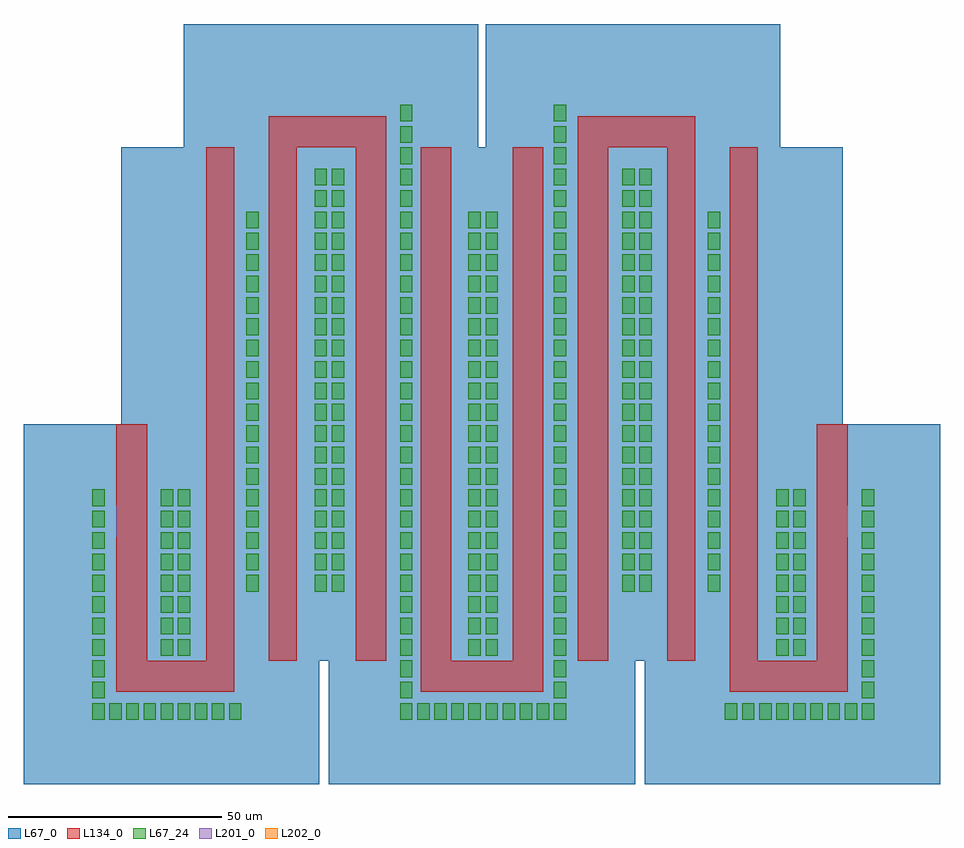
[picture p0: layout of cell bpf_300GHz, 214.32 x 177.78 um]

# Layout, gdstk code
from math import pi, radians
import gdstk
lib = gdstk.Library(unit=1e-6, precision=1e-09)
def R(c, l, rs):  # rectangles x0, y0, x1, y1
    for r in rs: c.add(gdstk.rectangle(r[:2], r[2:], *l))
L67_0 = (67, 0)
L67_24 = (67, 24)
L134_0 = (134, 0)
L201_0 = (201, 0)
L202_0 = (202, 0)

straight_gdsfactorypcomp = lib.new_cell('straight_gdsfactorypcomponentspwaveguidespstraight_L0_N_314f84cf')

c_straight_gdsfactorypcomp = lib.new_cell('straight_gdsfactorypcomponentspwaveguidespstraight_L0_N_18075a77')

tline_l0_scstopmetal2_ro = lib.new_cell('tline_L0_SCStopmetal2_routing_GCSmetal5_routing_WNone_Z50_N2')
tline_l0_scstopmetal2_ro.add(gdstk.Reference(straight_gdsfactorypcomp, (0,0)))
tline_l0_scstopmetal2_ro.add(gdstk.Reference(c_straight_gdsfactorypcomp, (0,0)))

c_straight_gdsfactorypcomp_ = lib.new_cell('straight_gdsfactorypcomponentspwaveguidespstraight_L55p_e40321a2')
R(c_straight_gdsfactorypcomp_, L134_0, [(0,-3.6,55.375,3.6)])

c_straight_gdsfactorypcomp__ = lib.new_cell('straight_gdsfactorypcomponentspwaveguidespstraight_L55p_79a64805')
R(c_straight_gdsfactorypcomp__, L67_0, [(0,-25.2,55.375,25.2)])

tline_l55p375_scstopmeta = lib.new_cell('tline_L55p375_SCStopmetal2_routing_GCSmetal5_routing_WN_9375a09f')
tline_l55p375_scstopmeta.add(gdstk.Reference(c_straight_gdsfactorypcomp_, (0,0)))
tline_l55p375_scstopmeta.add(gdstk.Reference(c_straight_gdsfactorypcomp__, (0,0)))

coupler_tline_z67p939468 = lib.new_cell('coupler_tline_Z67p93946885798206_Z39p914512775992414_L1_c1b7c22b')
R(coupler_tline_z67p939468, L67_0, [(0,-30.44,120.175,30.44)])
R(coupler_tline_z67p939468, L134_0, [(0,-10.61,120.175,-4), (0,4,120.175,10.61)])

rectangle_gdsfactorypcom = lib.new_cell('rectangle_gdsfactorypcomponentspshapesprectangle_S7p2_7_2a688ad3')
R(rectangle_gdsfactorypcom, L134_0, [(0,0,7.2,7.2)])

unnamed_16 = lib.new_cell('Unnamed_16')
R(unnamed_16, L67_0, [(0,0,50.4,50.4)])

c__corner_rectangle_w7p2_l = lib.new_cell('_corner_rectangle_W7p2_L7p2_SCStopmetal2_routing_GCSmet_6323a6bc')
c__corner_rectangle_w7p2_l.add(gdstk.Reference(rectangle_gdsfactorypcom, (0,0)))
c__corner_rectangle_w7p2_l.add(gdstk.Reference(unnamed_16, (-21.6,-21.6)))

c_straight_gdsfactorypcomp___ = lib.new_cell('straight_gdsfactorypcomponentspwaveguidespstraight_L13p_8a9a55cb')
R(c_straight_gdsfactorypcomp___, L134_0, [(0,-3.6,13.81,3.6)])

c_straight_gdsfactorypcomp____ = lib.new_cell('straight_gdsfactorypcomponentspwaveguidespstraight_L13p_9e3817ef')
R(c_straight_gdsfactorypcomp____, L67_0, [(0,-25.2,13.81,25.2)])

tline_l13p81_scstopmetal = lib.new_cell('tline_L13p81_SCStopmetal2_routing_GCSmetal5_routing_WNone_Z50_N2')
tline_l13p81_scstopmetal.add(gdstk.Reference(c_straight_gdsfactorypcomp___, (0,0)))
tline_l13p81_scstopmetal.add(gdstk.Reference(c_straight_gdsfactorypcomp____, (0,0)))

c_rectangle_gdsfactorypcom = lib.new_cell('rectangle_gdsfactorypcomponentspshapesprectangle_S6p61__e03c47ae')
R(c_rectangle_gdsfactorypcom, L134_0, [(0,0,6.61,7.2)])

unnamed_23 = lib.new_cell('Unnamed_23')
R(unnamed_23, L67_0, [(0,0,46.27,50.4)])

c__corner_rectangle_w7p2_l_ = lib.new_cell('_corner_rectangle_W7p2_L6p61_SCStopmetal2_routing_GCSme_4e32c115')
c__corner_rectangle_w7p2_l_.add(gdstk.Reference(c_rectangle_gdsfactorypcom, (0,0)))
c__corner_rectangle_w7p2_l_.add(gdstk.Reference(unnamed_23, (-19.83,-21.6)))

coupler_tline_z52p931014 = lib.new_cell('coupler_tline_Z52p931014405115995_Z47p37741073241804_L1_56e81adf')
R(coupler_tline_z52p931014, L67_0, [(0,-32.72,120.175,32.72)])
R(coupler_tline_z52p931014, L134_0, [(0,-11.18,120.175,-4), (0,4,120.175,11.18)])

c_straight_gdsfactorypcomp_____ = lib.new_cell('straight_gdsfactorypcomponentspwaveguidespstraight_L13p_e9e2e518')
R(c_straight_gdsfactorypcomp_____, L134_0, [(0,-3.6,13.79,3.6)])

c_straight_gdsfactorypcomp______ = lib.new_cell('straight_gdsfactorypcomponentspwaveguidespstraight_L13p_17c76902')
R(c_straight_gdsfactorypcomp______, L67_0, [(0,-25.2,13.79,25.2)])

tline_l13p79_scstopmetal = lib.new_cell('tline_L13p79_SCStopmetal2_routing_GCSmetal5_routing_WNone_Z50_N2')
tline_l13p79_scstopmetal.add(gdstk.Reference(c_straight_gdsfactorypcomp_____, (0,0)))
tline_l13p79_scstopmetal.add(gdstk.Reference(c_straight_gdsfactorypcomp______, (0,0)))

c_rectangle_gdsfactorypcom_ = lib.new_cell('rectangle_gdsfactorypcomponentspshapesprectangle_S7p18__fccea4ce')
R(c_rectangle_gdsfactorypcom_, L134_0, [(0,0,7.18,7.2)])

unnamed_34 = lib.new_cell('Unnamed_34')
R(unnamed_34, L67_0, [(0,0,50.26,50.4)])

c__corner_rectangle_w7p2_l__ = lib.new_cell('_corner_rectangle_W7p2_L7p18_SCStopmetal2_routing_GCSme_c607def9')
c__corner_rectangle_w7p2_l__.add(gdstk.Reference(c_rectangle_gdsfactorypcom_, (0,0)))
c__corner_rectangle_w7p2_l__.add(gdstk.Reference(unnamed_34, (-21.54,-21.6)))

c_straight_gdsfactorypcomp_______ = lib.new_cell('straight_gdsfactorypcomponentspwaveguidespstraight_L14p_55089f7c')
R(c_straight_gdsfactorypcomp_______, L134_0, [(0,-3.6,14.36,3.6)])

c_straight_gdsfactorypcomp________ = lib.new_cell('straight_gdsfactorypcomponentspwaveguidespstraight_L14p_3910300b')
R(c_straight_gdsfactorypcomp________, L67_0, [(0,-25.2,14.36,25.2)])

tline_l14p36_scstopmetal = lib.new_cell('tline_L14p36_SCStopmetal2_routing_GCSmetal5_routing_WNone_Z50_N2')
tline_l14p36_scstopmetal.add(gdstk.Reference(c_straight_gdsfactorypcomp_______, (0,0)))
tline_l14p36_scstopmetal.add(gdstk.Reference(c_straight_gdsfactorypcomp________, (0,0)))

c__slit_ground = lib.new_cell('_slit_ground')
R(c__slit_ground, L67_24, [(1.1,1.1,4,5)])

hairpin_coupled_line_ban = lib.new_cell('hairpin_coupled_line_bandpass_filter_O3_F300000000000_B_d44c1658')
hairpin_coupled_line_ban.add(gdstk.Reference(tline_l0_scstopmetal2_ro, (0,0)))
hairpin_coupled_line_ban.add(gdstk.Reference(tline_l55p375_scstopmeta, (3.6,22.69), rotation=3*pi/2))
hairpin_coupled_line_ban.add(gdstk.Reference(coupler_tline_z67p939468, (31.62,87.49), rotation=3*pi/2))
hairpin_coupled_line_ban.add(gdstk.Reference(c__corner_rectangle_w7p2_l, (0,-39.885)))
hairpin_coupled_line_ban.add(gdstk.Reference(tline_l13p81_scstopmetal, (7.2,-36.285)))
hairpin_coupled_line_ban.add(gdstk.Reference(c__corner_rectangle_w7p2_l_, (21.01,-39.885)))
hairpin_coupled_line_ban.add(gdstk.Reference(coupler_tline_z52p931014, (67.2,87.49), rotation=3*pi/2))
hairpin_coupled_line_ban.add(gdstk.Reference(c__corner_rectangle_w7p2_l_, (35.62,87.49)))
hairpin_coupled_line_ban.add(gdstk.Reference(tline_l13p79_scstopmetal, (42.23,91.09)))
hairpin_coupled_line_ban.add(gdstk.Reference(c__corner_rectangle_w7p2_l__, (56.02,87.49)))
hairpin_coupled_line_ban.add(gdstk.Reference(coupler_tline_z52p931014, (103.92,87.49), rotation=3*pi/2))
hairpin_coupled_line_ban.add(gdstk.Reference(c__corner_rectangle_w7p2_l__, (71.2,-39.885)))
hairpin_coupled_line_ban.add(gdstk.Reference(tline_l14p36_scstopmetal, (78.38,-36.285)))
hairpin_coupled_line_ban.add(gdstk.Reference(c__corner_rectangle_w7p2_l__, (92.74,-39.885)))
hairpin_coupled_line_ban.add(gdstk.Reference(coupler_tline_z67p939468, (139.5,87.49), rotation=3*pi/2))
hairpin_coupled_line_ban.add(gdstk.Reference(c__corner_rectangle_w7p2_l__, (107.92,87.49)))
hairpin_coupled_line_ban.add(gdstk.Reference(tline_l13p79_scstopmetal, (115.1,91.09)))
hairpin_coupled_line_ban.add(gdstk.Reference(c__corner_rectangle_w7p2_l_, (128.89,87.49)))
hairpin_coupled_line_ban.add(gdstk.Reference(c__corner_rectangle_w7p2_l_, (143.5,-39.885)))
hairpin_coupled_line_ban.add(gdstk.Reference(tline_l13p81_scstopmetal, (150.11,-36.285)))
hairpin_coupled_line_ban.add(gdstk.Reference(c__corner_rectangle_w7p2_l, (163.92,-39.885)))
hairpin_coupled_line_ban.add(gdstk.Reference(tline_l55p375_scstopmeta, (167.52,22.69), rotation=3*pi/2, x_reflection=True))
hairpin_coupled_line_ban.add(gdstk.Reference(tline_l0_scstopmetal2_ro, (171.12,0)))
r = gdstk.Reference(c__slit_ground, (9.3,-32.585)); r.repetition = gdstk.Repetition(2, 8, v1=(4,0), v2=(0,5)); hairpin_coupled_line_ban.add(r)
r = gdstk.Reference(c__slit_ground, (81.3,-32.585)); r.repetition = gdstk.Repetition(2, 21, v1=(4,0), v2=(0,5)); hairpin_coupled_line_ban.add(r)
r = gdstk.Reference(c__slit_ground, (153.3,-32.585)); r.repetition = gdstk.Repetition(2, 8, v1=(4,0), v2=(0,5)); hairpin_coupled_line_ban.add(r)
r = gdstk.Reference(c__slit_ground, (45.3,-17.585)); r.repetition = gdstk.Repetition(2, 20, v1=(4,0), v2=(0,5)); hairpin_coupled_line_ban.add(r)
r = gdstk.Reference(c__slit_ground, (117.3,-17.585)); r.repetition = gdstk.Repetition(2, 20, v1=(4,0), v2=(0,5)); hairpin_coupled_line_ban.add(r)
r = gdstk.Reference(c__slit_ground, (-6.7,-47.585)); r.repetition = gdstk.Repetition(1, 11, v1=(0,0), v2=(0,5)); hairpin_coupled_line_ban.add(r)
r = gdstk.Reference(c__slit_ground, (-2.7,-47.585)); r.repetition = gdstk.Repetition(8, 1, v1=(4,0), v2=(0,0)); hairpin_coupled_line_ban.add(r)
r = gdstk.Reference(c__slit_ground, (29.3,-17.585)); r.repetition = gdstk.Repetition(1, 18, v1=(0,0), v2=(0,5)); hairpin_coupled_line_ban.add(r)
r = gdstk.Reference(c__slit_ground, (65.3,-47.585)); r.repetition = gdstk.Repetition(1, 29, v1=(0,0), v2=(0,5)); hairpin_coupled_line_ban.add(r)
r = gdstk.Reference(c__slit_ground, (69.3,-47.585)); r.repetition = gdstk.Repetition(9, 1, v1=(4,0), v2=(0,0)); hairpin_coupled_line_ban.add(r)
r = gdstk.Reference(c__slit_ground, (101.3,-42.585)); r.repetition = gdstk.Repetition(1, 28, v1=(0,0), v2=(0,5)); hairpin_coupled_line_ban.add(r)
r = gdstk.Reference(c__slit_ground, (137.3,-17.585)); r.repetition = gdstk.Repetition(1, 18, v1=(0,0), v2=(0,5)); hairpin_coupled_line_ban.add(r)
r = gdstk.Reference(c__slit_ground, (141.3,-47.585)); r.repetition = gdstk.Repetition(9, 1, v1=(4,0), v2=(0,0)); hairpin_coupled_line_ban.add(r)
r = gdstk.Reference(c__slit_ground, (173.3,-42.585)); r.repetition = gdstk.Repetition(1, 10, v1=(0,0), v2=(0,5)); hairpin_coupled_line_ban.add(r)

c_rectangle_gdsfactorypcom__ = lib.new_cell('rectangle_gdsfactorypcomponentspshapesprectangle_S0p1_7_a4c304ac')
R(c_rectangle_gdsfactorypcom__, L201_0, [(0,0,0.1,7.2)])

c_rectangle_gdsfactorypcom___ = lib.new_cell('rectangle_gdsfactorypcomponentspshapesprectangle_S0p1_7_f59edcc8')
R(c_rectangle_gdsfactorypcom___, L202_0, [(0,0,0.1,7.2)])

bpf_300ghz = lib.new_cell('bpf_300GHz')
bpf_300ghz.add(gdstk.Reference(hairpin_coupled_line_ban, (0,0)))
bpf_300ghz.add(gdstk.Reference(c_rectangle_gdsfactorypcom__, (0,-3.6)))
bpf_300ghz.add(gdstk.Reference(c_rectangle_gdsfactorypcom___, (171.02,-3.6)))

lib.write_gds('bpf_300GHz.gds')
